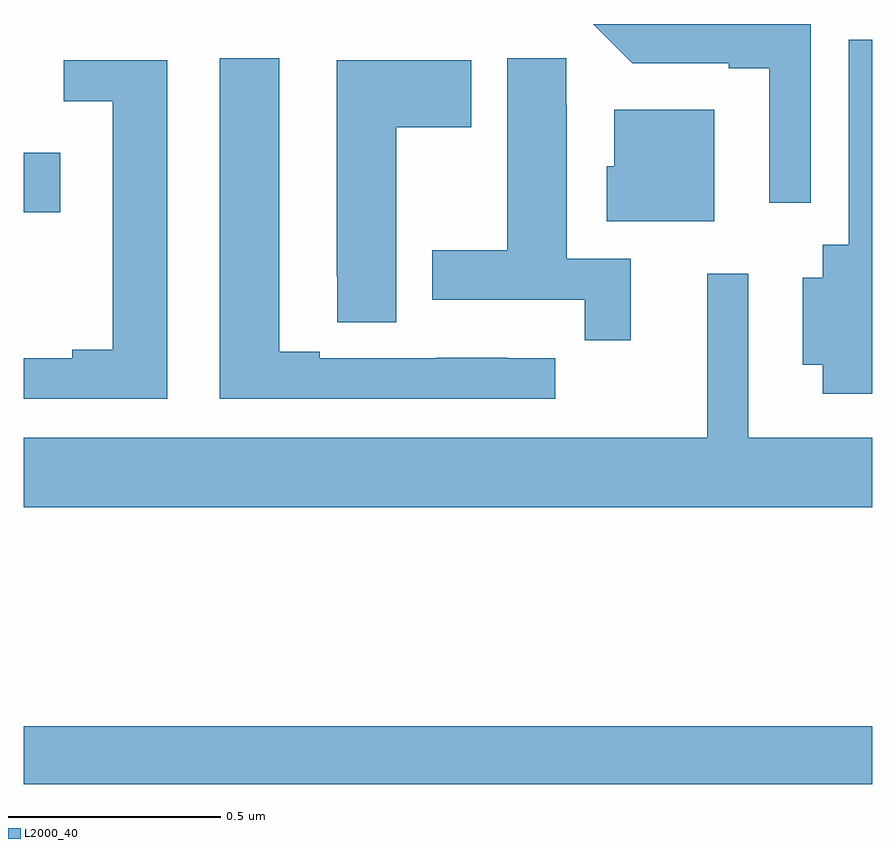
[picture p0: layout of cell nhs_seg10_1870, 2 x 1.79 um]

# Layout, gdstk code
import gdstk
lib = gdstk.Library(unit=1e-6, precision=1e-09)
def R(c, l, rs):  # rectangles x0, y0, x1, y1
    for r in rs: c.add(gdstk.rectangle(r[:2], r[2:], *l))
def P(c, l, *ps):  # polygons
    for p in ps: c.add(gdstk.Polygon(p, *l))
L2000_40 = (2000, 40)

nhs_seg10_1870 = lib.new_cell('nhs_seg10_1870')
R(nhs_seg10_1870, L2000_40, [(134,1255.708,136,1255.844), (134,1257.056,134.086,1257.196)])
P(nhs_seg10_1870, L2000_40, [(135.855,1257.5),(135.343,1257.5),(135.435,1257.408),(135.662,1257.408),(135.662,1257.396),(135.758,1257.396),(135.758,1257.078),(135.855,1257.078)],
  [(136,1257.463),(135.945,1257.463),(135.945,1256.98),(135.884,1256.98),(135.884,1256.902),(135.836,1256.902),(135.836,1256.696),(135.884,1256.696),(135.884,1256.628),(136,1256.628)],
  [(135.253,1256.712),(135.14,1256.712),(135.14,1256.713),(134.974,1256.713),(134.974,1256.712),(134.698,1256.712),(134.698,1256.727),(134.602,1256.727),(134.602,1257.419),(134.462,1257.419),(134.462,1256.616),(135.253,1256.616)],
  [(135.431,1256.946),(135.28,1256.946),(135.28,1257.308),(135.279,1257.308),(135.279,1257.419),(135.14,1257.419),(135.14,1256.967),(134.963,1256.967),(134.963,1256.85),(135.322,1256.85),(135.322,1256.754),(135.431,1256.754)],
  [(134.878,1257.256),(135.055,1257.256),(135.055,1257.415),(134.738,1257.415),(134.738,1256.905),(134.739,1256.905),(134.739,1256.797),(134.878,1256.797)],
  [(134.338,1257.414),(134.094,1257.414),(134.094,1257.318),(134.21,1257.318),(134.21,1256.732),(134.114,1256.732),(134.114,1256.712),(134,1256.712),(134,1256.616),(134.338,1256.616)],
  [(135.628,1257.298),(135.392,1257.298),(135.392,1257.165),(135.374,1257.165),(135.374,1257.035),(135.628,1257.035)],
  [(136,1256.524),(135.708,1256.524),(135.708,1256.911),(135.611,1256.911),(135.611,1256.524),(134,1256.524),(134,1256.36),(136,1256.36)])

lib.write_gds('nhs_seg10_1870.gds')
